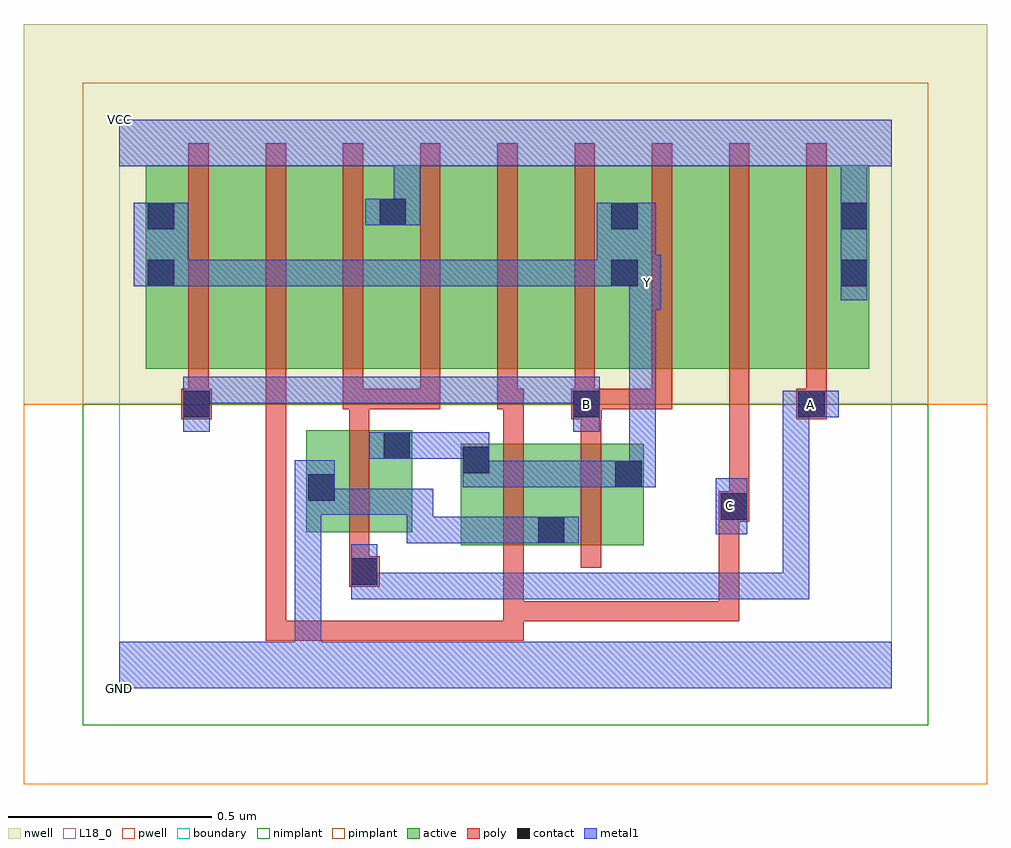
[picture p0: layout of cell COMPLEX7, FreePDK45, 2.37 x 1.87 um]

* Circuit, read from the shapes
.subckt COMPLEX7 A B C GND VCC Y
M1 Y A GND VSUBS nfet w=0.25u l=0.05u
M2 GND C Y VSUBS nfet w=0.25u l=0.05u
M3 Y B GND VSUBS nfet w=0.25u l=0.05u
M4 n1 B Y n2 pfet w=0.5u l=0.05u
M5 n3 C n1 n2 pfet w=0.5u l=0.05u
M6 VCC A n3 n2 pfet w=0.5u l=0.05u
M7 n4 A VCC n2 pfet w=0.5u l=0.05u
M8 n5 C n4 n2 pfet w=0.5u l=0.05u
M9 Y B n5 n2 pfet w=0.5u l=0.05u
M10 n6 B Y n2 pfet w=0.5u l=0.05u
M11 n7 C n6 n2 pfet w=0.5u l=0.05u
M12 VCC A n7 n2 pfet w=0.5u l=0.05u
.ends

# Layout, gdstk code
import gdstk
lib = gdstk.Library(unit=1e-6, precision=1e-09)
def R(c, l, rs):  # rectangles x0, y0, x1, y1
    for r in rs: c.add(gdstk.rectangle(r[:2], r[2:], *l))
def A(c, l, x, y, w, h, nx, ny, dx, dy):  # array of equal rectangles
    R(c, l, [(x+i*dx, y+j*dy, x+i*dx+w, y+j*dy+h) for i in range(nx) for j in range(ny)])
active = (1, 0)
pwell = (2, 0)
nwell = (3, 0)
nimplant = (4, 0)
pimplant = (5, 0)
poly = (9, 0)
contact = (10, 0)
metal1 = (11, 0)
L18_0 = (18, 0)
boundary = (235, 0)

complex7 = lib.new_cell('COMPLEX7')
A(complex7, active, 0.065, 0.787, 0.225, 0.5, 3, 1, 0.57, 0)
A(complex7, active, 0.29, 0.787, 0.19, 0.5, 3, 1, 0.57, 0)
R(complex7, active, [(0.84,0.352,1.1,0.602), (1.025,0.352,1.29,0.602), (1.025,0.352,1.1,0.497), (1.215,0.362,1.29,0.602), (0.46,0.385,0.72,0.635), (0.46,0.385,0.535,0.635), (0.645,0.395,0.72,0.635), (0.84,0.395,0.915,0.602), (0.065,0.787,0.17,1.2), (0.48,0.787,0.71,1.287), (1.05,0.787,1.28,1.287), (1.62,0.787,1.845,1.287), (1.77,0.787,1.845,1.255), (0.635,0.807,0.71,1.255), (1.205,0.807,1.28,1.2)])
R(complex7, pwell, [(-0.235,-0.235,2.135,0.7)])
R(complex7, nwell, [(-0.235,0.7,2.135,1.635)])
R(complex7, nimplant, [(-0.09,-0.09,1.99,0.7)])
R(complex7, pimplant, [(-0.09,0.7,1.99,1.49)])
A(complex7, poly, 0.55, 0.687, 0.05, 0.095, 5, 1, 0.19, 0)
A(complex7, poly, 0.17, 0.732, 0.05, 0.61, 9, 1, 0.19, 0)
R(complex7, poly, [(0.36,0.117,0.41,0.167), (0.36,0.117,0.41,0.167), (0.36,0.117,0.41,0.167), (0.36,0.117,0.41,0.167), (0.36,0.117,0.41,0.167), (0.36,0.117,0.41,0.167), (0.36,0.117,0.41,0.167), (0.36,0.117,0.41,0.167), (0.36,0.117,0.41,0.167), (0.36,0.117,0.657,0.167), (0.36,0.117,0.41,0.782), (0.607,0.117,0.657,0.167), (0.607,0.117,0.657,0.167), (0.607,0.117,0.657,0.167), (0.607,0.117,0.847,0.167), (0.797,0.117,0.847,0.167), (0.797,0.117,0.847,0.167), (0.797,0.117,0.847,0.167), (0.797,0.117,0.995,0.167), (0.945,0.117,0.995,0.167), (0.945,0.117,0.995,0.167), (0.945,0.117,0.995,0.167), (0.945,0.117,0.995,0.215), (0.945,0.165,0.995,0.215), (0.945,0.165,1.227,0.215), (0.945,0.165,0.995,0.347), (1.177,0.165,1.227,0.215), (1.177,0.165,1.227,0.215), (1.177,0.165,1.227,0.215), (1.177,0.165,1.36,0.215), (1.31,0.165,1.36,0.215), (1.31,0.165,1.36,0.215), (1.31,0.165,1.36,0.215), (1.31,0.165,1.36,0.215), (1.31,0.165,1.36,0.215), (1.31,0.165,1.525,0.215), (1.475,0.165,1.525,0.215), (1.475,0.165,1.525,0.215), (1.475,0.165,1.525,0.215), (1.475,0.165,1.525,0.46), (0.565,0.25,0.64,0.325), (0.565,0.275,0.615,0.38), (0.945,0.297,0.995,0.657), (1.135,0.297,1.185,0.657), (0.565,0.33,0.615,0.69), (1.475,0.41,1.55,0.485), (1.475,0.41,1.525,0.46), (1.475,0.41,1.525,0.46), (1.5,0.435,1.55,0.782), (0.945,0.607,0.995,0.737), (1.135,0.607,1.185,0.712), (0.565,0.64,0.615,0.737), (0.152,0.662,0.227,0.737), (1.112,0.662,1.187,0.737), (1.665,0.662,1.74,0.737), (0.17,0.687,0.22,0.782), (0.55,0.687,0.615,0.737), (0.565,0.687,0.79,0.737), (0.74,0.687,0.79,0.737), (0.74,0.687,0.79,0.737), (0.74,0.687,0.79,0.737), (0.93,0.687,0.995,0.737), (1.137,0.687,1.36,0.737), (1.31,0.687,1.36,0.737), (1.31,0.687,1.36,0.737), (1.31,0.687,1.36,0.737), (1.69,0.687,1.74,0.782)])
R(complex7, contact, [(0.57,0.255,0.635,0.32), (1.03,0.357,1.095,0.422), (1.48,0.415,1.545,0.48), (0.465,0.462,0.53,0.527), (1.22,0.495,1.285,0.56), (0.845,0.53,0.91,0.595), (0.65,0.565,0.715,0.63), (0.157,0.667,0.222,0.732), (1.117,0.667,1.182,0.732), (1.67,0.667,1.735,0.732), (0.07,0.99,0.135,1.055), (1.21,0.99,1.275,1.055), (1.775,0.99,1.84,1.055), (0.07,1.13,0.135,1.195), (1.21,1.13,1.275,1.195), (1.775,1.13,1.84,1.195), (0.64,1.14,0.705,1.205)])
R(complex7, metal1, [(0,0,1.9,0.115), (0.432,0.05,0.497,0.115), (0.432,0.05,0.497,0.115), (0.432,0.05,0.497,0.115), (0.432,0.05,0.497,0.115), (0.432,0.05,0.497,0.115), (0.432,0.05,0.497,0.115), (0.432,0.05,0.497,0.492), (0.57,0.22,0.635,0.355), (0.57,0.22,0.67,0.285), (0.605,0.22,0.67,0.285), (0.605,0.22,0.772,0.285), (0.707,0.22,0.772,0.285), (0.707,0.22,0.922,0.285), (0.857,0.22,0.922,0.285), (0.857,0.22,0.922,0.285), (0.857,0.22,0.922,0.285), (0.857,0.22,1.102,0.285), (1.037,0.22,1.102,0.285), (1.037,0.22,1.102,0.285), (1.037,0.22,1.102,0.285), (1.037,0.22,1.32,0.285), (1.255,0.22,1.32,0.285), (1.255,0.22,1.32,0.285), (1.255,0.22,1.32,0.285), (1.255,0.22,1.32,0.285), (1.255,0.22,1.32,0.285), (1.255,0.22,1.56,0.285), (1.495,0.22,1.56,0.285), (1.495,0.22,1.56,0.285), (1.495,0.22,1.56,0.285), (1.495,0.22,1.56,0.285), (1.495,0.22,1.56,0.285), (1.495,0.22,1.697,0.285), (1.632,0.22,1.697,0.285), (1.632,0.22,1.697,0.732), (0.707,0.357,0.772,0.492), (0.707,0.357,0.91,0.422), (0.845,0.357,0.91,0.422), (0.845,0.357,0.91,0.422), (0.845,0.357,0.91,0.422), (0.845,0.357,1.06,0.422), (0.995,0.357,1.13,0.422), (1.467,0.38,1.545,0.517), (0.432,0.427,0.53,0.562), (0.465,0.427,0.53,0.492), (0.465,0.427,0.53,0.492), (0.465,0.427,0.772,0.492), (0.707,0.427,0.772,0.492), (0.707,0.427,0.772,0.492), (0.845,0.495,0.91,0.63), (0.845,0.495,0.945,0.56), (0.88,0.495,0.945,0.56), (0.88,0.495,1.082,0.56), (1.017,0.495,1.082,0.56), (1.017,0.495,1.082,0.56), (1.017,0.495,1.082,0.56), (1.017,0.495,1.25,0.56), (1.185,0.495,1.32,0.56), (1.255,0.495,1.32,0.997), (0.615,0.565,0.75,0.63), (0.685,0.565,0.772,0.63), (0.707,0.565,0.772,0.63), (0.707,0.565,0.91,0.63), (0.157,0.632,0.222,0.767), (1.117,0.632,1.182,0.767), (1.632,0.667,1.697,0.732), (1.632,0.667,1.697,0.732), (1.632,0.667,1.77,0.732), (0.157,0.702,0.36,0.767), (0.295,0.702,0.36,0.767), (0.295,0.702,0.36,0.767), (0.295,0.702,0.36,0.767), (0.295,0.702,0.497,0.767), (0.432,0.702,0.497,0.767), (0.432,0.702,0.497,0.767), (0.432,0.702,0.497,0.767), (0.432,0.702,0.772,0.767), (0.707,0.702,0.772,0.767), (0.707,0.702,0.772,0.767), (0.707,0.702,0.772,0.767), (0.707,0.702,0.91,0.767), (0.845,0.702,0.91,0.767), (0.845,0.702,0.91,0.767), (0.845,0.702,0.91,0.767), (0.845,0.702,1.06,0.767), (0.995,0.702,1.06,0.767), (0.995,0.702,1.182,0.767), (1.255,0.932,1.332,1.067), (1.775,0.955,1.84,1.23), (0.035,0.99,0.17,1.195), (0.105,0.99,0.17,1.055), (0.105,0.99,0.17,1.055), (0.105,0.99,0.36,1.055), (0.295,0.99,0.36,1.055), (0.295,0.99,0.36,1.055), (0.295,0.99,0.36,1.055), (0.295,0.99,0.532,1.055), (0.467,0.99,0.532,1.055), (0.467,0.99,0.532,1.055), (0.467,0.99,0.532,1.055), (0.467,0.99,0.772,1.055), (0.707,0.99,0.772,1.055), (0.707,0.99,0.772,1.055), (0.707,0.99,0.772,1.055), (0.707,0.99,0.922,1.055), (0.857,0.99,0.922,1.055), (0.857,0.99,0.922,1.055), (0.857,0.99,0.922,1.055), (0.857,0.99,1.082,1.055), (1.017,0.99,1.082,1.055), (1.017,0.99,1.082,1.055), (1.017,0.99,1.082,1.055), (1.017,0.99,1.24,1.055), (1.175,0.99,1.32,1.195), (1.255,0.99,1.32,1.055), (0.605,1.14,0.74,1.205), (0.675,1.14,0.74,1.35), (1.775,1.165,1.84,1.35), (0,1.285,1.9,1.4)])
R(complex7, L18_0, [(0,0,1.9,0.115), (0.432,0.05,0.497,0.115), (0.432,0.05,0.497,0.115), (0.432,0.05,0.497,0.115), (0.432,0.05,0.497,0.115), (0.432,0.05,0.497,0.115), (0.432,0.05,0.497,0.115), (0.432,0.05,0.497,0.492), (0.57,0.22,0.635,0.355), (0.57,0.22,0.67,0.285), (0.605,0.22,0.67,0.285), (0.605,0.22,0.772,0.285), (0.707,0.22,0.772,0.285), (0.707,0.22,0.922,0.285), (0.857,0.22,0.922,0.285), (0.857,0.22,0.922,0.285), (0.857,0.22,0.922,0.285), (0.857,0.22,1.102,0.285), (1.037,0.22,1.102,0.285), (1.037,0.22,1.102,0.285), (1.037,0.22,1.102,0.285), (1.037,0.22,1.32,0.285), (1.255,0.22,1.32,0.285), (1.255,0.22,1.32,0.285), (1.255,0.22,1.32,0.285), (1.255,0.22,1.32,0.285), (1.255,0.22,1.32,0.285), (1.255,0.22,1.56,0.285), (1.495,0.22,1.56,0.285), (1.495,0.22,1.56,0.285), (1.495,0.22,1.56,0.285), (1.495,0.22,1.56,0.285), (1.495,0.22,1.56,0.285), (1.495,0.22,1.697,0.285), (1.632,0.22,1.697,0.285), (1.632,0.22,1.697,0.732), (0.707,0.357,0.772,0.492), (0.707,0.357,0.91,0.422), (0.845,0.357,0.91,0.422), (0.845,0.357,0.91,0.422), (0.845,0.357,0.91,0.422), (0.845,0.357,1.06,0.422), (0.995,0.357,1.13,0.422), (1.467,0.38,1.545,0.517), (1.467,0.417,1.532,0.482), (0.432,0.427,0.53,0.562), (0.465,0.427,0.53,0.492), (0.465,0.427,0.53,0.492), (0.465,0.427,0.772,0.492), (0.707,0.427,0.772,0.492), (0.707,0.427,0.772,0.492), (0.845,0.495,0.91,0.63), (0.845,0.495,0.945,0.56), (0.88,0.495,0.945,0.56), (0.88,0.495,1.082,0.56), (1.017,0.495,1.082,0.56), (1.017,0.495,1.082,0.56), (1.017,0.495,1.082,0.56), (1.017,0.495,1.25,0.56), (1.185,0.495,1.32,0.56), (1.255,0.495,1.32,0.997), (0.615,0.565,0.75,0.63), (0.685,0.565,0.772,0.63), (0.707,0.565,0.772,0.63), (0.707,0.565,0.91,0.63), (0.157,0.632,0.222,0.767), (1.117,0.632,1.182,0.767), (1.117,0.667,1.182,0.732), (1.632,0.667,1.697,0.732), (1.632,0.667,1.697,0.732), (1.632,0.667,1.77,0.732), (1.667,0.667,1.732,0.732), (0.157,0.702,0.36,0.767), (0.295,0.702,0.36,0.767), (0.295,0.702,0.36,0.767), (0.295,0.702,0.36,0.767), (0.295,0.702,0.497,0.767), (0.432,0.702,0.497,0.767), (0.432,0.702,0.497,0.767), (0.432,0.702,0.497,0.767), (0.432,0.702,0.772,0.767), (0.707,0.702,0.772,0.767), (0.707,0.702,0.772,0.767), (0.707,0.702,0.772,0.767), (0.707,0.702,0.91,0.767), (0.845,0.702,0.91,0.767), (0.845,0.702,0.91,0.767), (0.845,0.702,0.91,0.767), (0.845,0.702,1.06,0.767), (0.995,0.702,1.06,0.767), (0.995,0.702,1.182,0.767), (1.255,0.932,1.332,1.067), (1.775,0.955,1.84,1.23), (1.267,0.967,1.332,1.032), (0.035,0.99,0.17,1.195), (0.105,0.99,0.17,1.055), (0.105,0.99,0.17,1.055), (0.105,0.99,0.36,1.055), (0.295,0.99,0.36,1.055), (0.295,0.99,0.36,1.055), (0.295,0.99,0.36,1.055), (0.295,0.99,0.532,1.055), (0.467,0.99,0.532,1.055), (0.467,0.99,0.532,1.055), (0.467,0.99,0.532,1.055), (0.467,0.99,0.772,1.055), (0.707,0.99,0.772,1.055), (0.707,0.99,0.772,1.055), (0.707,0.99,0.772,1.055), (0.707,0.99,0.922,1.055), (0.857,0.99,0.922,1.055), (0.857,0.99,0.922,1.055), (0.857,0.99,0.922,1.055), (0.857,0.99,1.082,1.055), (1.017,0.99,1.082,1.055), (1.017,0.99,1.082,1.055), (1.017,0.99,1.082,1.055), (1.017,0.99,1.24,1.055), (1.175,0.99,1.32,1.195), (1.255,0.99,1.32,1.055), (0.605,1.14,0.74,1.205), (0.675,1.14,0.74,1.35), (1.775,1.165,1.84,1.35), (0,1.285,1.9,1.4)])
R(complex7, boundary, [(0,0,1.9,1.4)])
complex7.add(gdstk.Label('A', (1.7,0.7), layer=11, texttype=0))
complex7.add(gdstk.Label('B', (1.15,0.7), layer=11, texttype=0))
complex7.add(gdstk.Label('C', (1.5,0.45), layer=11, texttype=0))
complex7.add(gdstk.Label('Y', (1.3,1), layer=11, texttype=0))
complex7.add(gdstk.Label('VCC', (0,1.4), layer=11, texttype=0))
complex7.add(gdstk.Label('GND', (0,0), layer=11, texttype=0))

lib.write_gds('COMPLEX7.gds')
